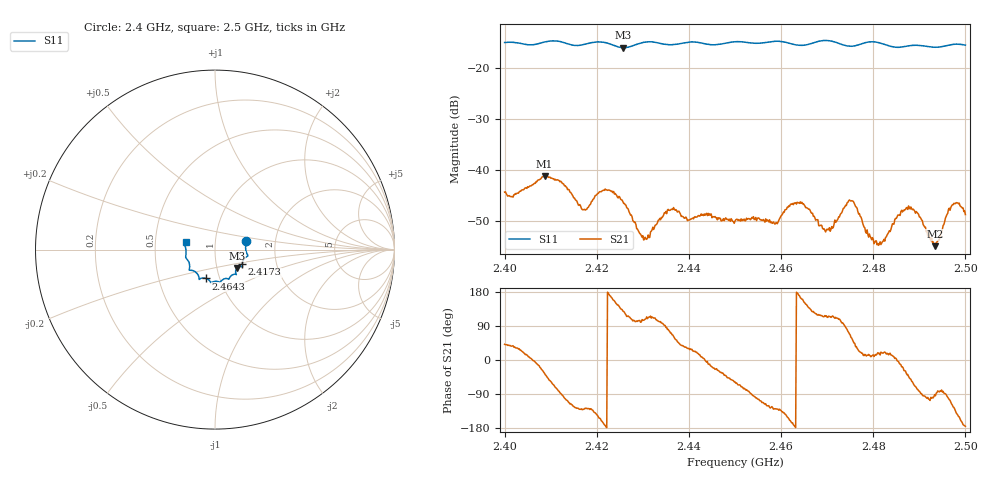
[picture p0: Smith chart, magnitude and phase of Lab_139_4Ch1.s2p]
# Hz S RI R 50
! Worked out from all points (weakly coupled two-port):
!   601 points, 2.4 GHz to 2.5 GHz, reference 50 ohm
!   highest |S21| = -41.09 dB at 2.4087 GHz (marker M1); lowest = -54.9 dB at 2.4933 GHz (marker M2)
!   lowest |S11| = -15.9 dB at 2.4257 GHz (marker M3), VSWR 1.38, Z = 62.5 - j13.1 ohm
!   |S11| at or under -10 dB: start of sweep to end of sweep
!   S12 and S22 are empty: the file has one direction only
!   S11 on the Smith chart (normalised r, x): 2.4 GHz: 1.41, +0.14; 2.4173 GHz: 1.34, -0.22; 2.4643 GHz: 0.86, -0.29; 2.5 GHz: 0.72, +0.06
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2.4e9  0.1728 0.0489  0.00459 0.00405  0 0  0 0
2.408667e9  0.1801 -0.0262  0.00721 -0.00508  0 0  0 0
2.412333e9  0.1784 -0.0384  -9.79e-06 -0.0077  0 0  0 0
2.416667e9  0.1528 -0.074  -0.00265 -0.00329  0 0  0 0
2.417333e9  0.1519 -0.0815  -0.0026 -0.00323  0 0  0 0
2.421667e9  0.1527 -0.0956  -0.00629 -0.000987  0 0  0 0
2.425667e9  0.1229 -0.1022  -0.00311 0.00382  0 0  0 0
2.430333e9  0.118 -0.1371  -0.000581 0.00202  0 0  0 0
2.433333e9  0.1131 -0.1372  -0.000723 0.00315  0 0  0 0
2.436667e9  0.0895 -0.1463  0.00201 0.00382  0 0  0 0
2.45e9  0.0288 -0.1809  0.0017 -0.00269  0 0  0 0
2.458833e9  -0.0218 -0.1837  -0.0019 -0.00238  0 0  0 0
2.464333e9  -0.05 -0.1609  -0.00453 0.00144  0 0  0 0
2.466667e9  -0.0758 -0.1593  -0.00235 0.00297  0 0  0 0
2.470167e9  -0.0883 -0.1657  -0.00101 0.00241  0 0  0 0
2.475167e9  -0.1079 -0.1253  0.00252 0.00432  0 0  0 0
2.480667e9  -0.1435 -0.1107  0.00198 0.00046  0 0  0 0
2.483333e9  -0.1409 -0.0899  0.00239 0.000577  0 0  0 0
2.488167e9  -0.1607 -0.0491  0.00276 -0.0034  0 0  0 0
2.493333e9  -0.1613 -0.0104  -4.23e-05 -0.0018  0 0  0 0
2.497333e9  -0.1699 0.0289  -0.00254 -0.00383  0 0  0 0
2.5e9  -0.1638 0.043  -0.00367 -0.000325  0 0  0 0
